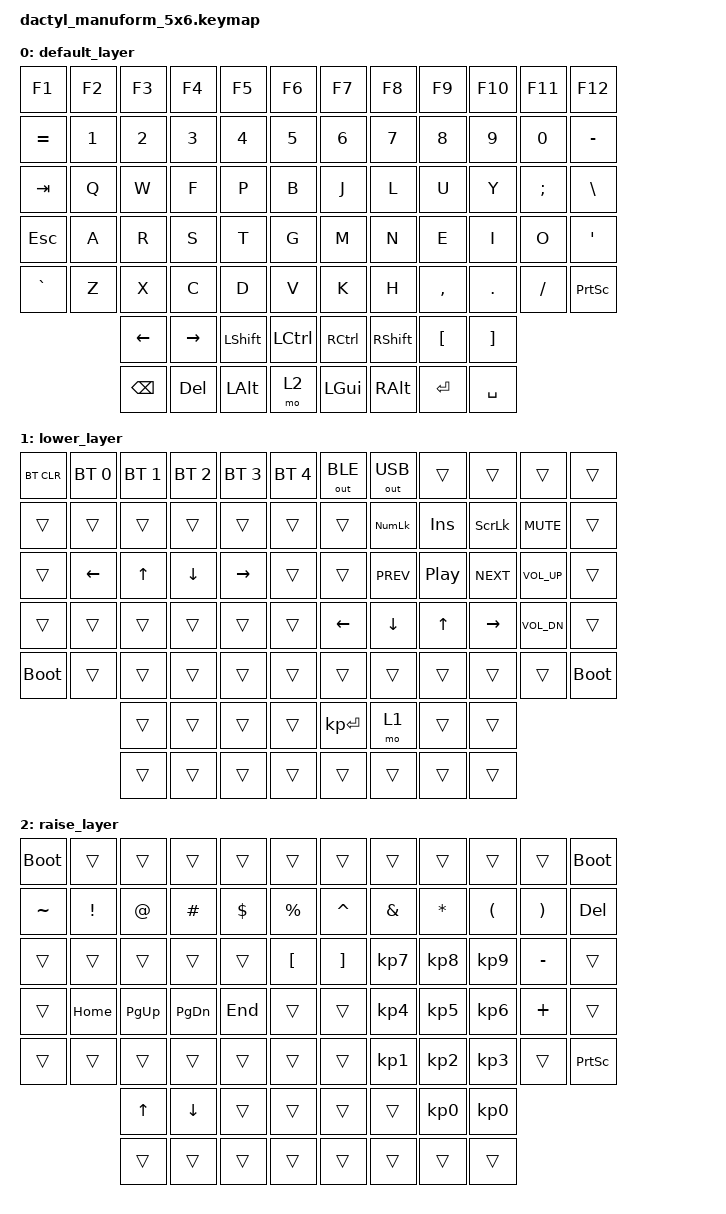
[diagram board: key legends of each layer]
#include <behaviors.dtsi>
#include <dt-bindings/zmk/bt.h>
#include <dt-bindings/zmk/keys.h>
#include <dt-bindings/zmk/outputs.h>

#define DEFAULT 0
#define LWR 1
#define RSE 2

/ {
    keymap {
        compatible = "zmk,keymap";

        default_layer {
            bindings = <
&kp F1      &kp F2  &kp F3         &kp F4      &kp F5          &kp F6       &kp F7        &kp F8           &kp F9            &kp F10            &kp F11        &kp F12
&kp EQUAL   &kp N1  &kp N2         &kp N3      &kp N4          &kp N5       &kp N6        &kp N7           &kp N8            &kp N9             &kp N0         &kp MINUS
&kp TAB     &kp Q   &kp W          &kp F       &kp P           &kp B        &kp J         &kp L            &kp U             &kp Y              &kp SEMICOLON  &kp BACKSLASH
&kp ESCAPE  &kp A   &kp R          &kp S       &kp T           &kp G        &kp M         &kp N            &kp E             &kp I              &kp O          &kp APOS
&kp GRAVE   &kp Z   &kp X          &kp C       &kp D           &kp V        &kp K         &kp H            &kp COMMA         &kp DOT            &kp FSLH       &kp PRINTSCREEN
                    &kp LEFT       &kp RIGHT   &kp LEFT_SHIFT  &kp LCTRL    &kp RCTRL     &kp RIGHT_SHIFT  &kp LEFT_BRACKET  &kp RIGHT_BRACKET
                    &kp BACKSPACE  &kp DELETE  &kp LEFT_ALT    &mo 2        &kp LEFT_GUI  &kp RIGHT_ALT    &kp ENTER         &kp SPACE
            >;
        };

        lower_layer {
            bindings = <
&bt BT_CLR   &bt BT_SEL 0  &bt BT_SEL 1  &bt BT_SEL 2  &bt BT_SEL 3  &bt BT_SEL 4    &out OUT_BLE    &out OUT_USB    &trans            &trans          &trans        &trans
&trans       &trans        &trans        &trans        &trans        &trans          &trans          &kp KP_NUMLOCK  &kp INSERT        &kp SCROLLLOCK  &kp C_MUTE    &trans
&trans       &kp LEFT      &kp UP_ARROW  &kp DOWN      &kp RIGHT     &trans          &trans          &kp C_PREV      &kp C_PLAY_PAUSE  &kp C_NEXT      &kp C_VOL_UP  &trans
&trans       &trans        &trans        &trans        &trans        &trans          &kp LEFT_ARROW  &kp DOWN        &kp UP            &kp RIGHT       &kp C_VOL_DN  &trans
&bootloader  &trans        &trans        &trans        &trans        &trans          &trans          &trans          &trans            &trans          &trans        &bootloader
                           &trans        &trans        &trans        &trans          &kp KP_ENTER    &mo 1           &trans            &trans
                           &trans        &trans        &trans        &trans          &trans          &trans          &trans            &trans
            >;
        };

        raise_layer {
            bindings = <
&bootloader  &trans           &trans       &trans         &trans      &trans              &trans             &trans           &trans           &trans                &trans                 &bootloader
&kp TILDE    &kp EXCLAMATION  &kp AT_SIGN  &kp HASH       &kp DOLLAR  &kp PERCENT         &kp CARET          &kp AMPERSAND    &kp ASTERISK     &kp LEFT_PARENTHESIS  &kp RIGHT_PARENTHESIS  &kp DELETE
&trans       &trans           &trans       &trans         &trans      &kp LEFT_BRACKET    &kp RIGHT_BRACKET  &kp KP_NUMBER_7  &kp KP_NUMBER_8  &kp KP_N9             &kp MINUS              &trans
&trans       &kp HOME         &kp PAGE_UP  &kp PAGE_DOWN  &kp END     &trans              &trans             &kp KP_N4        &kp KP_N5        &kp KP_N6             &kp PLUS               &trans
&trans       &trans           &trans       &trans         &trans      &trans              &trans             &kp KP_N1        &kp KP_N2        &kp KP_N3             &trans                 &kp PRINTSCREEN
                              &kp UP       &kp DOWN       &trans      &trans              &trans             &trans           &kp KP_N0        &kp KP_N0
                              &trans       &trans         &trans      &trans              &trans             &trans           &trans           &trans
            >;
        };
    };
};
